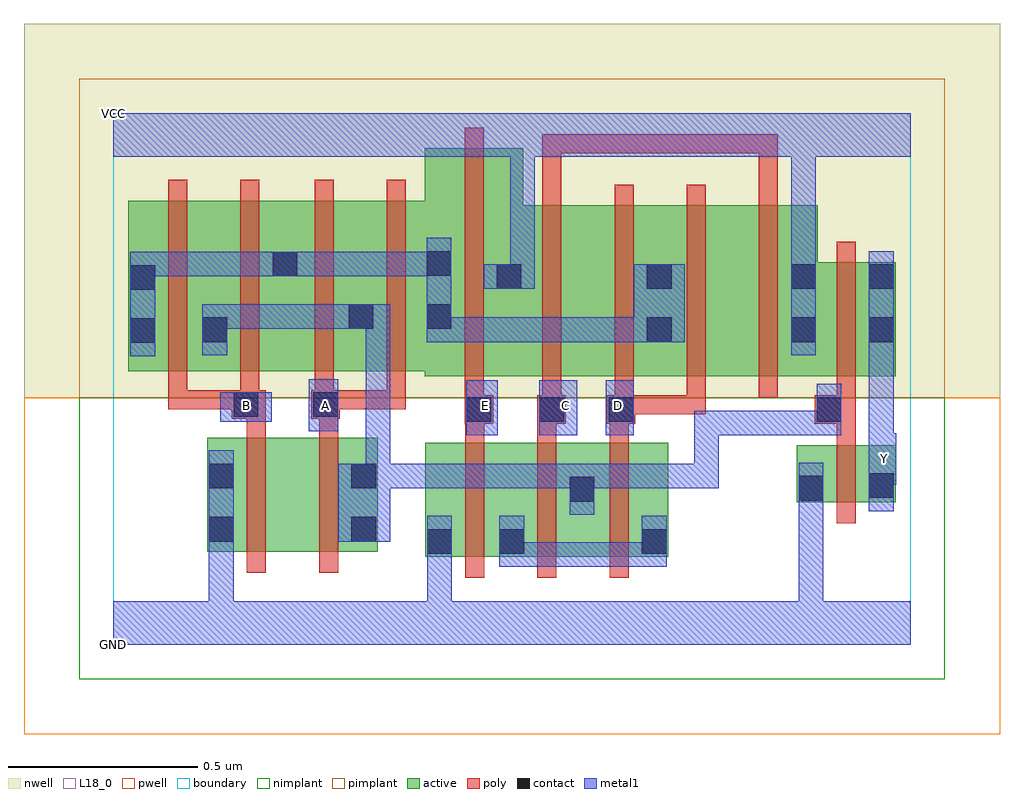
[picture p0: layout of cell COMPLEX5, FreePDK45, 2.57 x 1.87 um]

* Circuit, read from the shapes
.subckt COMPLEX5 A B C D E GND VCC Y
M1 n1 B GND VSUBS nfet w=0.3u l=0.05u
M2 n2 A n1 VSUBS nfet w=0.3u l=0.05u
M3 n3 E GND VSUBS nfet w=0.3u l=0.05u
M4 n2 C n3 VSUBS nfet w=0.3u l=0.05u
M5 n3 D n2 VSUBS nfet w=0.3u l=0.05u
M6 Y n2 GND VSUBS nfet w=0.15u l=0.05u
M7 n2 B n4 n5 pfet w=0.45u l=0.05u m=2
M8 n2 A n4 n5 pfet w=0.45u l=0.05u m=2
M9 VCC E n4 n5 pfet w=0.6u l=0.05u
M10 n6 C VCC n5 pfet w=0.45u l=0.05u
M11 n4 D n6 n5 pfet w=0.45u l=0.05u
M12 n7 D n4 n5 pfet w=0.45u l=0.05u
M13 VCC C n7 n5 pfet w=0.45u l=0.05u
M14 Y n2 VCC n5 pfet w=0.3u l=0.05u
.ends

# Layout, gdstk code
import gdstk
lib = gdstk.Library(unit=1e-6, precision=1e-09)
def R(c, l, rs):  # rectangles x0, y0, x1, y1
    for r in rs: c.add(gdstk.rectangle(r[:2], r[2:], *l))
def A(c, l, x, y, w, h, nx, ny, dx, dy):  # array of equal rectangles
    R(c, l, [(x+i*dx, y+j*dy, x+i*dx+w, y+j*dy+h) for i in range(nx) for j in range(ny)])
active = (1, 0)
pwell = (2, 0)
nwell = (3, 0)
nimplant = (4, 0)
pimplant = (5, 0)
poly = (9, 0)
contact = (10, 0)
metal1 = (11, 0)
L18_0 = (18, 0)
boundary = (235, 0)

complex5 = lib.new_cell('COMPLEX5')
R(complex5, active, [(0.822,0.232,0.897,0.532), (0.822,0.232,1.087,0.532), (1.012,0.232,1.272,0.532), (1.012,0.232,1.087,0.392), (1.197,0.232,1.462,0.532), (1.387,0.232,1.462,0.532), (0.247,0.245,0.472,0.545), (0.472,0.245,0.697,0.545), (0.622,0.245,0.697,0.545), (0.247,0.267,0.322,0.545), (1.197,0.295,1.272,0.447), (1.8,0.375,2.06,0.525), (1.8,0.375,1.875,0.525), (1.985,0.382,2.06,0.525), (0.82,0.707,1.08,1.307), (1.005,0.707,1.25,1.157), (1.25,0.707,1.475,1.157), (1.4,0.707,1.475,1.157), (1.4,0.707,1.63,1.157), (1.63,0.707,1.855,1.157), (1.78,0.707,2.06,1.007), (1.78,0.707,1.855,1.157), (1.985,0.707,2.06,1.007), (0.04,0.72,0.115,1.155), (0.04,0.72,0.305,1.17), (0.23,0.72,0.305,1.07), (0.23,0.72,0.49,1.17), (0.415,0.72,0.69,1.17), (0.415,0.72,0.49,1.155), (0.615,0.72,0.895,1.17), (0.615,0.72,0.69,1.07), (0.82,0.72,0.895,1.2), (1.005,0.782,1.08,1.197)])
R(complex5, pwell, [(-0.235,-0.235,2.335,0.65)])
R(complex5, nwell, [(-0.235,0.65,2.335,1.635)])
R(complex5, nimplant, [(-0.09,-0.09,2.19,0.65)])
R(complex5, pimplant, [(-0.09,0.65,2.19,1.49)])
A(complex5, poly, 0.927, 0.177, 0.05, 0.41, 3, 1, 0.19, 0)
A(complex5, poly, 0.927, 0.537, 0.05, 0.095, 3, 1, 0.19, 0)
A(complex5, poly, 1.13, 0.607, 0.05, 0.095, 3, 1, 0.19, 0)
A(complex5, poly, 1.13, 0.652, 0.05, 0.56, 4, 1, 0.19, 0)
R(complex5, poly, [(0.352,0.19,0.402,0.6), (0.542,0.19,0.592,0.6), (1.905,0.32,1.955,0.58), (1.905,0.53,1.955,0.632), (0.352,0.55,0.402,0.645), (0.542,0.55,0.592,0.645), (0.925,0.582,1,0.657), (1.117,0.582,1.192,0.657), (1.3,0.582,1.375,0.657), (1.847,0.582,1.955,0.657), (0.312,0.595,0.402,0.67), (0.522,0.595,0.597,0.67), (0.925,0.607,0.975,0.702), (1.325,0.607,1.56,0.657), (1.51,0.607,1.56,0.657), (1.51,0.607,1.56,0.657), (1.51,0.607,1.56,0.657), (1.905,0.607,1.955,0.702), (0.145,0.62,0.195,0.715), (0.145,0.62,0.195,0.67), (0.145,0.62,0.362,0.67), (0.312,0.62,0.362,0.67), (0.312,0.62,0.362,0.67), (0.335,0.62,0.385,0.715), (0.53,0.62,0.58,0.715), (0.547,0.62,0.77,0.67), (0.72,0.62,0.77,0.715), (0.72,0.62,0.77,0.67), (0.72,0.62,0.77,0.67), (0.72,0.62,0.77,0.67), (0.925,0.652,0.975,1.362), (1.905,0.652,1.955,1.062), (0.145,0.665,0.195,1.225), (0.335,0.665,0.385,1.225), (0.53,0.665,0.58,1.225), (0.72,0.665,0.77,1.225), (1.13,1.162,1.18,1.345), (1.7,1.162,1.75,1.345), (1.13,1.295,1.18,1.345), (1.13,1.295,1.18,1.345), (1.13,1.295,1.18,1.345), (1.13,1.295,1.312,1.345), (1.262,1.295,1.312,1.345), (1.262,1.295,1.617,1.345), (1.567,1.295,1.617,1.345), (1.567,1.295,1.617,1.345), (1.567,1.295,1.617,1.345), (1.567,1.295,1.75,1.345), (1.7,1.295,1.75,1.345), (1.7,1.295,1.75,1.345), (1.7,1.295,1.75,1.345)])
R(complex5, contact, [(0.827,0.24,0.892,0.305), (1.017,0.24,1.082,0.305), (1.392,0.24,1.457,0.305), (0.252,0.272,0.317,0.337), (0.627,0.272,0.692,0.337), (1.202,0.377,1.267,0.442), (1.805,0.38,1.87,0.445), (1.99,0.387,2.055,0.452), (0.252,0.412,0.317,0.477), (0.627,0.412,0.692,0.477), (0.93,0.587,0.995,0.652), (1.122,0.587,1.187,0.652), (1.305,0.587,1.37,0.652), (1.852,0.587,1.917,0.652), (0.317,0.6,0.382,0.665), (0.527,0.6,0.592,0.665), (0.045,0.795,0.11,0.86), (0.235,0.797,0.3,0.862), (1.405,0.797,1.47,0.862), (1.785,0.797,1.85,0.862), (1.99,0.797,2.055,0.862), (0.62,0.832,0.685,0.897), (0.825,0.832,0.89,0.897), (0.045,0.935,0.11,1), (1.01,0.937,1.075,1.002), (1.405,0.937,1.47,1.002), (1.785,0.937,1.85,1.002), (1.99,0.937,2.055,1.002), (0.42,0.97,0.485,1.035), (0.825,0.972,0.89,1.037)])
R(complex5, metal1, [(0,0,2.1,0.115), (0.252,0.05,0.317,0.115), (0.252,0.05,0.317,0.115), (0.252,0.05,0.317,0.302), (0.827,0.05,0.892,0.115), (0.827,0.05,0.892,0.115), (0.827,0.05,0.892,0.27), (1.805,0.05,1.87,0.41), (0.827,0.205,0.892,0.34), (1.017,0.205,1.082,0.27), (1.017,0.205,1.082,0.27), (1.017,0.205,1.082,0.34), (1.017,0.205,1.297,0.27), (1.232,0.205,1.297,0.27), (1.232,0.205,1.457,0.27), (1.392,0.205,1.457,0.27), (1.392,0.205,1.457,0.27), (1.392,0.205,1.457,0.34), (0.252,0.237,0.317,0.512), (0.592,0.272,0.73,0.477), (1.202,0.342,1.267,0.477), (1.805,0.345,1.87,0.41), (1.805,0.345,1.87,0.41), (1.805,0.345,1.87,0.41), (1.805,0.345,1.87,0.41), (1.805,0.345,1.87,0.48), (1.99,0.352,2.055,0.487), (0.665,0.412,0.73,0.477), (0.665,0.412,0.73,0.477), (0.665,0.412,0.73,0.477), (0.665,0.412,0.73,0.477), (0.665,0.412,0.89,0.477), (0.665,0.412,0.73,0.897), (0.825,0.412,0.89,0.477), (0.825,0.412,0.89,0.477), (0.825,0.412,0.89,0.477), (0.825,0.412,1.13,0.477), (1.065,0.412,1.13,0.477), (1.065,0.412,1.13,0.477), (1.065,0.412,1.13,0.477), (1.065,0.412,1.267,0.477), (1.202,0.412,1.267,0.477), (1.202,0.412,1.267,0.477), (1.202,0.412,1.457,0.477), (1.392,0.412,1.457,0.477), (1.392,0.412,1.595,0.477), (1.53,0.412,1.595,0.477), (1.53,0.412,1.595,0.477), (1.53,0.412,1.595,0.477), (1.53,0.412,1.595,0.617), (1.99,0.422,2.055,0.487), (1.99,0.422,2.062,0.557), (1.99,0.492,2.055,0.827), (0.93,0.552,1.012,0.697), (1.122,0.552,1.222,0.697), (1.297,0.552,1.37,0.697), (1.53,0.552,1.595,0.617), (1.53,0.552,1.732,0.617), (1.667,0.552,1.732,0.617), (1.667,0.552,1.732,0.617), (1.667,0.552,1.732,0.617), (1.667,0.552,1.917,0.617), (1.852,0.552,1.917,0.687), (0.515,0.562,0.592,0.7), (0.282,0.587,0.417,0.665), (0.045,0.76,0.11,1.035), (0.235,0.762,0.3,0.897), (1.785,0.762,1.85,1.037), (1.99,0.762,2.055,1.037), (0.825,0.797,0.89,1.072), (0.825,0.797,0.89,0.862), (0.825,0.797,0.89,0.862), (0.825,0.797,0.89,0.862), (0.825,0.797,0.89,0.862), (0.825,0.797,1.027,0.862), (0.962,0.797,1.027,0.862), (0.962,0.797,1.027,0.862), (0.962,0.797,1.027,0.862), (0.962,0.797,1.297,0.862), (1.232,0.797,1.297,0.862), (1.232,0.797,1.435,0.862), (1.37,0.797,1.435,0.862), (1.37,0.797,1.435,0.862), (1.37,0.797,1.505,1.002), (0.235,0.832,0.3,0.897), (0.235,0.832,0.3,0.897), (0.235,0.832,0.455,0.897), (0.39,0.832,0.455,0.897), (0.39,0.832,0.455,0.897), (0.39,0.832,0.455,0.897), (0.39,0.832,0.65,0.897), (0.585,0.832,0.73,0.897), (0.975,0.937,1.11,1.002), (1.045,0.937,1.11,1.35), (0.045,0.97,0.11,1.035), (0.045,0.97,0.11,1.035), (0.045,0.97,0.247,1.035), (0.182,0.97,0.247,1.035), (0.182,0.97,0.247,1.035), (0.182,0.97,0.247,1.035), (0.182,0.97,0.45,1.035), (0.385,0.97,0.52,1.035), (0.455,0.97,0.52,1.035), (0.455,0.97,0.52,1.035), (0.455,0.97,0.752,1.035), (0.687,0.97,0.752,1.035), (0.687,0.97,0.752,1.035), (0.687,0.97,0.752,1.035), (0.687,0.97,0.89,1.035), (1.785,0.972,1.85,1.35), (0,1.285,2.1,1.4), (1.785,1.285,1.85,1.35), (1.785,1.285,1.85,1.35)])
R(complex5, L18_0, [(0,0,2.1,0.115), (0.252,0.05,0.317,0.115), (0.252,0.05,0.317,0.115), (0.252,0.05,0.317,0.302), (0.827,0.05,0.892,0.115), (0.827,0.05,0.892,0.115), (0.827,0.05,0.892,0.27), (1.805,0.05,1.87,0.41), (0.827,0.205,0.892,0.34), (0.252,0.237,0.317,0.512), (1.805,0.345,1.87,0.41), (1.805,0.345,1.87,0.41), (1.805,0.345,1.87,0.41), (1.805,0.345,1.87,0.41), (1.805,0.345,1.87,0.48), (1.99,0.352,2.055,0.487), (1.99,0.422,2.055,0.487), (1.99,0.422,2.062,0.557), (1.997,0.457,2.062,0.522), (1.99,0.492,2.055,0.827), (0.93,0.552,1.012,0.697), (1.122,0.552,1.222,0.697), (1.297,0.552,1.37,0.697), (0.515,0.562,0.592,0.7), (0.282,0.587,0.417,0.665), (0.317,0.597,0.382,0.662), (0.527,0.597,0.592,0.662), (0.947,0.597,1.012,0.662), (1.157,0.597,1.222,0.662), (1.297,0.597,1.362,0.662), (1.785,0.762,1.85,1.037), (1.99,0.762,2.055,1.037), (0.975,0.937,1.11,1.002), (1.045,0.937,1.11,1.35), (1.785,0.972,1.85,1.35), (0,1.285,2.1,1.4), (1.785,1.285,1.85,1.35), (1.785,1.285,1.85,1.35)])
R(complex5, boundary, [(0,0,2.1,1.4)])
complex5.add(gdstk.Label('A', (0.56,0.63), layer=11, texttype=0))
complex5.add(gdstk.Label('B', (0.35,0.63), layer=11, texttype=0))
complex5.add(gdstk.Label('C', (1.19,0.63), layer=11, texttype=0))
complex5.add(gdstk.Label('D', (1.33,0.63), layer=11, texttype=0))
complex5.add(gdstk.Label('E', (0.98,0.63), layer=11, texttype=0))
complex5.add(gdstk.Label('Y', (2.03,0.49), layer=11, texttype=0))
complex5.add(gdstk.Label('VCC', (0,1.4), layer=11, texttype=0))
complex5.add(gdstk.Label('GND', (0,0), layer=11, texttype=0))

lib.write_gds('COMPLEX5.gds')
